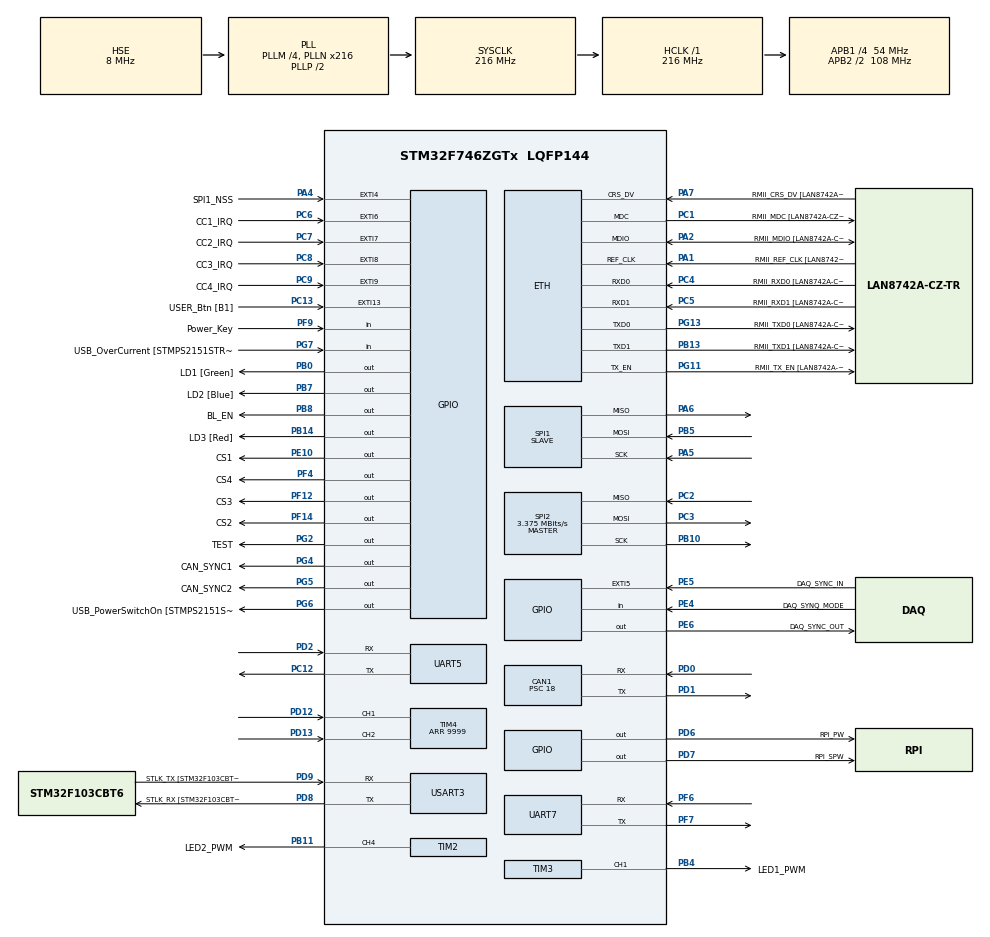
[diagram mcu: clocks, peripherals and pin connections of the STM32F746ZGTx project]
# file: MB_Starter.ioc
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CAN1.BS1=CAN_BS1_3TQ
CAN1.BS2=CAN_BS2_2TQ
CAN1.CalculateTimeQuantum=333.33333333333337
CAN1.Prescaler=18
CAN1.SJW=CAN_SJW_2TQ
Dma.Request0=SPI1_RX
Dma.Request1=SPI1_TX
Dma.Request2=UART5_TX
Dma.Request3=UART7_TX
Dma.Request4=UART7_RX
Dma.SPI1_RX.0.Direction=DMA_PERIPH_TO_MEMORY
Dma.SPI1_RX.0.FIFOMode=DMA_FIFOMODE_DISABLE
Dma.SPI1_RX.0.Instance=DMA2_Stream0
Dma.SPI1_RX.0.MemDataAlignment=DMA_MDATAALIGN_BYTE
Dma.SPI1_RX.0.MemInc=DMA_MINC_ENABLE
Dma.SPI1_RX.0.Mode=DMA_NORMAL
Dma.SPI1_RX.0.PeriphDataAlignment=DMA_PDATAALIGN_BYTE
Dma.SPI1_RX.0.PeriphInc=DMA_PINC_DISABLE
Dma.SPI1_RX.0.Priority=DMA_PRIORITY_HIGH
Dma.SPI1_TX.1.Direction=DMA_MEMORY_TO_PERIPH
Dma.SPI1_TX.1.FIFOMode=DMA_FIFOMODE_DISABLE
Dma.SPI1_TX.1.Instance=DMA2_Stream3
Dma.SPI1_TX.1.MemDataAlignment=DMA_MDATAALIGN_BYTE
Dma.SPI1_TX.1.MemInc=DMA_MINC_ENABLE
Dma.SPI1_TX.1.Mode=DMA_CIRCULAR
Dma.SPI1_TX.1.PeriphDataAlignment=DMA_PDATAALIGN_BYTE
Dma.SPI1_TX.1.PeriphInc=DMA_PINC_DISABLE
Dma.SPI1_TX.1.Priority=DMA_PRIORITY_HIGH
Dma.UART5_TX.2.Direction=DMA_MEMORY_TO_PERIPH
Dma.UART5_TX.2.FIFOMode=DMA_FIFOMODE_DISABLE
Dma.UART5_TX.2.Instance=DMA1_Stream7
Dma.UART5_TX.2.MemDataAlignment=DMA_MDATAALIGN_BYTE
Dma.UART5_TX.2.MemInc=DMA_MINC_ENABLE
Dma.UART5_TX.2.Mode=DMA_NORMAL
Dma.UART5_TX.2.PeriphDataAlignment=DMA_PDATAALIGN_BYTE
Dma.UART5_TX.2.PeriphInc=DMA_PINC_DISABLE
Dma.UART5_TX.2.Priority=DMA_PRIORITY_MEDIUM
Dma.UART7_RX.4.Direction=DMA_PERIPH_TO_MEMORY
Dma.UART7_RX.4.FIFOMode=DMA_FIFOMODE_DISABLE
Dma.UART7_RX.4.Instance=DMA1_Stream3
Dma.UART7_RX.4.MemDataAlignment=DMA_MDATAALIGN_BYTE
Dma.UART7_RX.4.MemInc=DMA_MINC_ENABLE
Dma.UART7_RX.4.Mode=DMA_NORMAL
Dma.UART7_RX.4.PeriphDataAlignment=DMA_PDATAALIGN_BYTE
Dma.UART7_RX.4.PeriphInc=DMA_PINC_DISABLE
Dma.UART7_RX.4.Priority=DMA_PRIORITY_MEDIUM
Dma.UART7_TX.3.Direction=DMA_MEMORY_TO_PERIPH
Dma.UART7_TX.3.FIFOMode=DMA_FIFOMODE_DISABLE
Dma.UART7_TX.3.Instance=DMA1_Stream1
Dma.UART7_TX.3.MemDataAlignment=DMA_MDATAALIGN_BYTE
Dma.UART7_TX.3.MemInc=DMA_MINC_ENABLE
Dma.UART7_TX.3.Mode=DMA_CIRCULAR
Dma.UART7_TX.3.PeriphDataAlignment=DMA_PDATAALIGN_BYTE
Dma.UART7_TX.3.PeriphInc=DMA_PINC_DISABLE
Dma.UART7_TX.3.Priority=DMA_PRIORITY_MEDIUM
ETH.MediaInterface=ETH_MEDIA_INTERFACE_RMII
ETH.PHY_Name=LAN8742A_PHY_ADDRESS
ETH.PHY_Value=0
ETH.PhyAddress=0
LWIP.IP_ADDRESS=192.168.050.100
LWIP.LWIP_DHCP=0
LWIP.MEM_SIZE=2048
LWIP.NETMASK_ADDRESS=255.255.255.000
LWIP.Version=v2.0.3_Cube
Mcu.Family=STM32F7
Mcu.Name=STM32F746ZGTx
Mcu.Package=LQFP144
NVIC.CAN1_RX0_IRQn=true\:0\:0\:false\:false\:true\:true\:true
NVIC.CAN1_RX1_IRQn=true\:0\:0\:false\:false\:true\:true\:true
NVIC.CAN1_TX_IRQn=true\:0\:0\:false\:false\:true\:true\:true
NVIC.DMA1_Stream1_IRQn=true\:0\:0\:false\:false\:true\:false\:true
NVIC.DMA1_Stream3_IRQn=true\:0\:0\:false\:false\:true\:false\:true
NVIC.DMA1_Stream7_IRQn=true\:0\:0\:false\:false\:true\:false\:true
NVIC.DMA2_Stream0_IRQn=true\:0\:0\:false\:false\:true\:false\:true
NVIC.DMA2_Stream3_IRQn=true\:0\:0\:false\:false\:true\:false\:true
NVIC.EXTI15_10_IRQn=true\:0\:0\:false\:false\:true\:true\:true
NVIC.EXTI4_IRQn=true\:0\:0\:false\:false\:true\:true\:true
NVIC.EXTI9_5_IRQn=true\:0\:0\:false\:false\:true\:true\:true
NVIC.PriorityGroup=NVIC_PRIORITYGROUP_4
NVIC.TIM4_IRQn=true\:0\:0\:false\:false\:true\:true\:true
NVIC.TIM8_TRG_COM_TIM14_IRQn=true\:0\:0\:false\:false\:true\:true\:true
NVIC.TIM8_UP_TIM13_IRQn=true\:0\:0\:false\:false\:true\:true\:true
NVIC.UART7_IRQn=true\:0\:0\:false\:false\:true\:true\:true
PA1.GPIO_Label=RMII_REF_CLK [LAN8742A-CZ-TR_REFCLK0]
PA1.Mode=RMII
PA1.Signal=ETH_REF_CLK
PA10.GPIO_Label=USB_ID
PA10.Signal=USB_OTG_FS_ID
PA11.GPIO_Label=USB_DM
PA11.Signal=USB_OTG_FS_DM
PA12.GPIO_Label=USB_DP
PA12.Signal=USB_OTG_FS_DP
PA13.GPIO_Label=TMS
PA13.Mode=Serial_Wire
PA13.Signal=SYS_JTMS-SWDIO
PA14.GPIO_Label=TCK
PA14.Mode=Serial_Wire
PA14.Signal=SYS_JTCK-SWCLK
PA2.GPIO_Label=RMII_MDIO [LAN8742A-CZ-TR_MDIO]
PA2.Mode=RMII
PA2.Signal=ETH_MDIO
PA4.GPIO_Label=SPI1_NSS
PA4.GPIO_ModeDefaultEXTI=GPIO_MODE_IT_RISING_FALLING
PA4.Signal=GPXTI4
PA5.Mode=Full_Duplex_Slave
PA5.Signal=SPI1_SCK
PA6.Mode=Full_Duplex_Slave
PA6.Signal=SPI1_MISO
PA7.GPIO_Label=RMII_CRS_DV [LAN8742A-CZ-TR_CRS_DV]
PA7.Mode=RMII
PA7.Signal=ETH_CRS_DV
PA8.GPIO_Label=USB_SOF [TP1]
PA8.Signal=USB_OTG_FS_SOF
PA9.GPIO_Label=USB_VBUS
PA9.Signal=USB_OTG_FS_VBUS
PB0.GPIO_Label=LD1 [Green]
PB0.Signal=GPIO_Output
PB10.Mode=Full_Duplex_Master
PB10.Signal=SPI2_SCK
PB11.GPIO_Label=LED2_PWM
PB11.Signal=S_TIM2_CH4
PB13.GPIO_Label=RMII_TXD1 [LAN8742A-CZ-TR_TXD1]
PB13.Mode=RMII
PB13.Signal=ETH_TXD1
PB14.GPIO_Label=LD3 [Red]
PB14.Signal=GPIO_Output
PB3.GPIO_Label=SW0
PB3.Signal=SYS_JTDO-SWO
PB4.GPIO_Label=LED1_PWM
PB4.Signal=S_TIM3_CH1
PB5.Mode=Full_Duplex_Slave
PB5.Signal=SPI1_MOSI
PB7.GPIO_Label=LD2 [Blue]
PB7.Signal=GPIO_Output
PB8.GPIO_Label=BL_EN
PB8.Signal=GPIO_Output
PC1.GPIO_Label=RMII_MDC [LAN8742A-CZ-TR_MDC]
PC1.Mode=RMII
PC1.Signal=ETH_MDC
PC12.Mode=Asynchronous
PC12.Signal=UART5_TX
PC13.GPIO_Label=USER_Btn [B1]
PC13.Signal=GPXTI13
PC14/OSC32_IN.Mode=LSE-External-Oscillator
PC14/OSC32_IN.Signal=RCC_OSC32_IN
PC15/OSC32_OUT.Mode=LSE-External-Oscillator
PC15/OSC32_OUT.Signal=RCC_OSC32_OUT
PC2.Mode=Full_Duplex_Master
PC2.Signal=SPI2_MISO
PC3.Mode=Full_Duplex_Master
PC3.Signal=SPI2_MOSI
PC4.GPIO_Label=RMII_RXD0 [LAN8742A-CZ-TR_RXD0]
PC4.Mode=RMII
PC4.Signal=ETH_RXD0
PC5.GPIO_Label=RMII_RXD1 [LAN8742A-CZ-TR_RXD1]
PC5.Mode=RMII
PC5.Signal=ETH_RXD1
PC6.GPIO_Label=CC1_IRQ
PC6.GPIO_PuPd=GPIO_PULLDOWN
PC6.Signal=GPXTI6
PC7.GPIO_Label=CC2_IRQ
PC7.GPIO_PuPd=GPIO_PULLDOWN
PC7.Signal=GPXTI7
PC8.GPIO_Label=CC3_IRQ
PC8.GPIO_PuPd=GPIO_PULLDOWN
PC8.Signal=GPXTI8
PC9.GPIO_Label=CC4_IRQ
PC9.GPIO_PuPd=GPIO_PULLDOWN
PC9.Signal=GPXTI9
PD0.Mode=Master
PD0.Signal=CAN1_RX
PD1.Mode=Master
PD1.Signal=CAN1_TX
PD12.Signal=S_TIM4_CH1
PD13.Signal=S_TIM4_CH2
PD2.Mode=Asynchronous
PD2.Signal=UART5_RX
PD6.GPIO_Label=RPi_PW
PD6.Signal=GPIO_Output
PD7.GPIO_Label=RPI_SPW
PD7.Signal=GPIO_Output
PD8.GPIO_Label=STLK_RX [STM32F103CBT6_PA3]
PD8.Mode=Asynchronous
PD8.Signal=USART3_TX
PD9.GPIO_Label=STLK_TX [STM32F103CBT6_PA2]
PD9.Mode=Asynchronous
PD9.Signal=USART3_RX
PE10.GPIO_Label=CS1
PE10.Signal=GPIO_Output
PE4.GPIO_Label=DAQ_SYNQ_MODE
PE4.GPIO_PuPd=GPIO_PULLUP
PE4.Signal=GPIO_Input
PE5.GPIO_Label=DAQ_SYNC_IN
PE5.GPIO_ModeDefaultEXTI=GPIO_MODE_IT_RISING
PE5.GPIO_PuPd=GPIO_PULLUP
PE5.Signal=GPXTI5
PE6.GPIO_Label=DAQ_SYNC_OUT
PE6.Signal=GPIO_Output
PF12.GPIO_Label=CS3
PF12.Signal=GPIO_Output
PF14.GPIO_Label=CS2
PF14.Signal=GPIO_Output
PF4.GPIO_Label=CS4
PF4.Signal=GPIO_Output
PF6.Mode=Asynchronous
PF6.Signal=UART7_RX
PF7.Mode=Asynchronous
PF7.Signal=UART7_TX
PF9.GPIO_Label=Power_Key
PF9.GPIO_PuPd=GPIO_PULLDOWN
PF9.Signal=GPIO_Input
PG11.GPIO_Label=RMII_TX_EN [LAN8742A-CZ-TR_TXEN]
PG11.Mode=RMII
PG11.Signal=ETH_TX_EN
PG13.GPIO_Label=RMII_TXD0 [LAN8742A-CZ-TR_TXD0]
PG13.Mode=RMII
PG13.Signal=ETH_TXD0
PG2.GPIO_Label=TEST
PG2.Signal=GPIO_Output
PG4.GPIO_Label=CAN_SYNC1
PG4.Signal=GPIO_Output
PG5.GPIO_Label=CAN_SYNC2
PG5.Signal=GPIO_Output
PG6.GPIO_Label=USB_PowerSwitchOn [STMPS2151STR_EN]
PG6.Signal=GPIO_Output
PG7.GPIO_Label=USB_OverCurrent [STMPS2151STR_FAULT]
PG7.Signal=GPIO_Input
PH0/OSC_IN.GPIO_Label=MCO [STM32F103CBT6_PA8]
PH0/OSC_IN.Mode=HSE-External-Clock-Source
PH0/OSC_IN.Signal=RCC_OSC_IN
PH1/OSC_OUT.Mode=HSE-External-Clock-Source
PH1/OSC_OUT.Signal=RCC_OSC_OUT
ProjectManager.HeapSize=0x400
ProjectManager.StackSize=0x800
ProjectManager.TargetToolchain=MDK-ARM V5
RCC.48MHZClocksFreq_Value=24000000
RCC.AHBFreq_Value=216000000
RCC.APB1CLKDivider=RCC_HCLK_DIV4
RCC.APB1Freq_Value=54000000
RCC.APB1TimFreq_Value=108000000
RCC.APB2CLKDivider=RCC_HCLK_DIV2
RCC.APB2Freq_Value=108000000
RCC.APB2TimFreq_Value=216000000
RCC.CortexFreq_Value=216000000
RCC.HCLKFreq_Value=216000000
RCC.HSE_VALUE=8000000
RCC.HSI_VALUE=16000000
RCC.PLLM=4
RCC.PLLMUL=RCC_PLL_MUL9
RCC.PLLN=216
RCC.PLLQ=9
RCC.PLLSourceVirtual=RCC_PLLSOURCE_HSE
RCC.PRESCALERUSB=RCC_USBCLKSOURCE_PLL_DIV1_5
RCC.SYSCLKFreq_VALUE=216000000
RCC.SYSCLKSource=RCC_SYSCLKSOURCE_PLLCLK
RCC.SYSCLKSourceVirtual=RCC_SYSCLKSOURCE_PLLCLK
RCC.USBFreq_Value=48000000
RCC.VCOOutputFreq_Value=432000000
SH.S_TIM2_CH4.0=TIM2_CH4,PWM Generation4 CH4
SH.S_TIM3_CH1.0=TIM3_CH1,PWM Generation1 CH1
SH.S_TIM4_CH1.0=TIM4_CH1,Encoder_Interface
SH.S_TIM4_CH2.0=TIM4_CH2,Encoder_Interface
SPI1.DataSize=SPI_DATASIZE_8BIT
SPI1.Direction=SPI_DIRECTION_2LINES
SPI1.Mode=SPI_MODE_SLAVE
SPI1.VirtualType=VM_SLAVE
SPI2.BaudRatePrescaler=SPI_BAUDRATEPRESCALER_16
SPI2.CRCCalculation=SPI_CRCCALCULATION_DISABLE
SPI2.CalculateBaudRate=3.375 MBits/s
SPI2.DataSize=SPI_DATASIZE_8BIT
SPI2.Direction=SPI_DIRECTION_2LINES
SPI2.Mode=SPI_MODE_MASTER
SPI2.VirtualType=VM_MASTER
TIM13.Period=65535
TIM13.Prescaler=107
TIM14.Period=107
TIM14.Prescaler=999
TIM2.Channel-PWM\ Generation4\ CH4=TIM_CHANNEL_4
TIM2.Period=7200
TIM2.Prescaler=9
TIM3.Channel-PWM\ Generation1\ CH1=TIM_CHANNEL_1
TIM3.Period=7200
TIM3.Prescaler=9
TIM4.EncoderMode=TIM_ENCODERMODE_TI12
TIM4.Period=9999
USART3.VirtualMode-Asynchronous=VM_ASYNC
VP_LWIP_VS_Enabled.Mode=Enabled
VP_TIM13_VS_ClockSourceINT.Mode=Enable_Timer
VP_TIM14_VS_ClockSourceINT.Mode=Enable_Timer
board=NUCLEO-F746ZG

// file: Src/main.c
/* USER CODE BEGIN Header */
/**
  ******************************************************************************
  * @file           : main.c
  * @brief          : Main program body
  ******************************************************************************
  ** This notice applies to any and all portions of this file
  * that are not between comment pairs USER CODE BEGIN and
  * USER CODE END. Other portions of this file, whether
  * inserted by the user or by software development tools
  * are owned by their respective copyright owners.
  *
  * COPYRIGHT(c) 2019 STMicroelectronics
  *
  * Redistribution and use in source and binary forms, with or without modification,
  * are permitted provided that the following conditions are met:
  *   1. Redistributions of source code must retain the above copyright notice,
  *      this list of conditions and the following disclaimer.
  *   2. Redistributions in binary form must reproduce the above copyright notice,
  *      this list of conditions and the following disclaimer in the documentation
  *      and/or other materials provided with the distribution.
  *   3. Neither the name of STMicroelectronics nor the names of its contributors
  *      may be used to endorse or promote products derived from this software
  *      without specific prior written permission.
  *
  * THIS SOFTWARE IS PROVIDED BY THE COPYRIGHT HOLDERS AND CONTRIBUTORS "AS IS"
  * AND ANY EXPRESS OR IMPLIED WARRANTIES, INCLUDING, BUT NOT LIMITED TO, THE
  * IMPLIED WARRANTIES OF MERCHANTABILITY AND FITNESS FOR A PARTICULAR PURPOSE ARE
  * DISCLAIMED. IN NO EVENT SHALL THE COPYRIGHT HOLDER OR CONTRIBUTORS BE LIABLE
  * FOR ANY DIRECT, INDIRECT, INCIDENTAL, SPECIAL, EXEMPLARY, OR CONSEQUENTIAL
  * DAMAGES (INCLUDING, BUT NOT LIMITED TO, PROCUREMENT OF SUBSTITUTE GOODS OR
  * SERVICES; LOSS OF USE, DATA, OR PROFITS; OR BUSINESS INTERRUPTION) HOWEVER
  * CAUSED AND ON ANY THEORY OF LIABILITY, WHETHER IN CONTRACT, STRICT LIABILITY,
  * OR TORT (INCLUDING NEGLIGENCE OR OTHERWISE) ARISING IN ANY WAY OUT OF THE USE
  * OF THIS SOFTWARE, EVEN IF ADVISED OF THE POSSIBILITY OF SUCH DAMAGE.
  *
  ******************************************************************************
  */
/* USER CODE END Header */

#include "main.h"
#include "lwip.h"

/* USER CODE BEGIN Includes */
#include "string.h"
#include "udp.h"
#include "spi_stack.h"
#include "power_manager.h"
#include "CAN_CARD.h"
#include "stdio.h"
#include "time_keeper.h"
#include "CAN_Telemetry.h"
/* USER CODE END Includes */

/* USER CODE BEGIN PD */
#define SYNQ_MODE_SLAVE 0
/* USER CODE END PD */

CAN_HandleTypeDef hcan1;

SPI_HandleTypeDef hspi1;
SPI_HandleTypeDef hspi2;
DMA_HandleTypeDef hdma_spi1_rx;
DMA_HandleTypeDef hdma_spi1_tx;

TIM_HandleTypeDef htim2;
TIM_HandleTypeDef htim3;
TIM_HandleTypeDef htim4;
TIM_HandleTypeDef htim13;
TIM_HandleTypeDef htim14;

UART_HandleTypeDef huart5;
UART_HandleTypeDef huart7;
UART_HandleTypeDef huart3;
DMA_HandleTypeDef hdma_uart5_tx;
DMA_HandleTypeDef hdma_uart7_tx;
DMA_HandleTypeDef hdma_uart7_rx;

/* USER CODE BEGIN PV */
char string[64];
struct udp_pcb *UDP;
ip_addr_t Remote_IP, Local_IP;
extern volatile int RPI_SYNC;
extern volatile int UDP_TFLAG;
extern volatile int IMU_RX_FLAG;
int syncTogglingFlag=0;
int SYNC_IN_FLAG =0,Start_Sampling=0;
struct pbuf *Transmit_Pbuf;
CAN_RxHeaderTypeDef RMess;
CAN_TxHeaderTypeDef TMess;
uint8_t  TxData[8] = {0};
uint8_t  canRxData[8];
uint32_t TxMailBox;

HAL_StatusTypeDef canret;

char str[32];
uint8_t data_in_test[32];
uint8_t data_out_test[32];

volatile int SENSOtgRX_COUNTER=0;
extern volatile int nob_encoder_index;
CAN_TxHeaderTypeDef TMess;

union UDP_packet{
	struct
	{
		int32_t accel[3];
		int32_t gyro[3];
		int32_t magn[3];
		int32_t nob_encoder;
		int32_t mot_encoders[4];
		int32_t force[4];
		uint32_t IMU_TimeStamp;
		uint32_t RPU_TimeStamp;
		uint32_t CAM_TimeStamp;
	}Data;
	uint8_t buff[84];
}outPacket;

union {
	struct
	{
		uint8_t header1;
		uint8_t header2;
		int32_t accel[3];
		int32_t gyro[3];
		int32_t magn[3];
		int32_t nob_encoder;
		int32_t mot_encoders[4];
		int32_t force[4];
		uint32_t IMU_TimeStamp;
		uint32_t RPU_TimeStamp;
		uint32_t CAM_TimeStamp;
	}Data;
	uint8_t buff[86];
}guiPacket;
/* USER CODE END PV */

void SystemClock_Config(void);
static void MX_GPIO_Init(void);
static void MX_DMA_Init(void);
static void MX_USART3_UART_Init(void);
static void MX_SPI2_Init(void);
static void MX_UART5_Init(void);
static void MX_CAN1_Init(void);
static void MX_SPI1_Init(void);
static void MX_GFXSIMULATOR_Init(void);
static void MX_TIM4_Init(void);
static void MX_TIM2_Init(void);
static void MX_TIM3_Init(void);
static void MX_TIM14_Init(void);
static void MX_TIM13_Init(void);
static void MX_UART7_Init(void);
/* USER CODE BEGIN PFP */
int32_t nob_encoder_read(void);
void nob_encoder_reset(void);

/////////////////RPI CODE STARTS HERE

void RPI_DATA_LOAD(void){

	//memcpy((uint8_t*)&regs[1],RPI_DATA.buff,8);
}

void setStatusReg(int status)
{
	//regs[STATUS_ADDRESS]=status;
}
// DAQ UDP Data Transaction
void makeUdpPacket(void)
{
	uint8_t rpusStatus;
	//Put the RPU Packets in the outpacket buffers
	outPacket.Data.accel[0]=accel[0];
	outPacket.Data.accel[1]=accel[1];
	outPacket.Data.accel[2]=accel[2];

	outPacket.Data.gyro[0]=gyro[0];
	outPacket.Data.gyro[1]=gyro[1];
	outPacket.Data.gyro[2]=gyro[2];

	outPacket.Data.magn[0]=magnetometer[0];
	outPacket.Data.magn[1]=magnetometer[1];
	outPacket.Data.magn[2]=magnetometer[2];

	//get the sensor values from the RPUs
	rpusStatus=getConversionStatus();
	//if the status is not success, set the corresponding measurements to a specefic number
	if(rpusStatus&(1<<0))
		rpuGetSensorData(&outPacket.Data.mot_encoders[0],&outPacket.Data.force[0],0);
	else
	{
		outPacket.Data.force[0]=-5000;
		outPacket.Data.mot_encoders[0]=-5000;
	}

	if(rpusStatus&(1<<1))
		rpuGetSensorData(&outPacket.Data.mot_encoders[1],&outPacket.Data.force[1],1);
	else
	{
		outPacket.Data.force[1]=-5000;
		outPacket.Data.mot_encoders[1]=-5000;
	}	if(rpusStatus&(1<<2))
		rpuGetSensorData(&outPacket.Data.mot_encoders[2],&outPacket.Data.force[2],2);
	else
	{
		outPacket.Data.force[2]=-5000;
		outPacket.Data.mot_encoders[2]=-5000;
	}	if(rpusStatus&(1<<3))
		rpuGetSensorData(&outPacket.Data.mot_encoders[3],&outPacket.Data.force[3],3);
	else
	{
		outPacket.Data.force[3]=-5000;
		outPacket.Data.mot_encoders[3]=-5000;
	}

	//read the nobe encoder and store its data into the output packet
	outPacket.Data.nob_encoder=nob_encoder_read();
	//Get the time Stamps
	outPacket.Data.RPU_TimeStamp=0;//RPU_TimeStamp();
	outPacket.Data.IMU_TimeStamp=0;
	outPacket.Data.CAM_TimeStamp=syncTogglingFlag;
}

void sendUdpPacket(void)
{
	Transmit_Pbuf=pbuf_alloc(PBUF_TRANSPORT, sizeof(outPacket.buff), PBUF_RAM);
	pbuf_take(Transmit_Pbuf, outPacket.buff, sizeof(outPacket.buff));
	udp_sendto(UDP, Transmit_Pbuf, &Remote_IP, 5500);
	pbuf_free(Transmit_Pbuf);
}

void sendUartTelemtry(void)
{
	HAL_UART_DMAStop(&huart5);
	HAL_UART_Transmit_DMA(&huart5,outPacket.buff,sizeof(outPacket.buff));
}
void readSensors()
{
	//RPUs start conversion
	//sensorStartConversion();
	//RPU_Tick();
}
void sendGuiData(void)
{
	static int counter=0;
	if(counter <30)
		counter++;
	else{
		guiPacket.Data.header1='a';
		guiPacket.Data.header2='b';
		memcpy(&guiPacket.buff[2],outPacket.buff,sizeof(outPacket.buff));
		guiPacket.Data.force[0]=nob_encoder_read();
		HAL_UART_Transmit_DMA(&huart7,guiPacket.buff,sizeof(guiPacket.buff));
	}
}

/* USER CODE END PFP */

int main(void)
{
  /* USER CODE BEGIN 1 */
	int loop_delay_counter=0;
	int uart_telemtry_loop_delay=30;
  /* USER CODE END 1 */

  /* MCU Configuration--------------------------------------------------------*/

  /* Reset of all peripherals, Initializes the Flash interface and the Systick. */
  HAL_Init();

  /* Configure the system clock */
  SystemClock_Config();

  /* Initialize all configured peripherals */
  MX_GPIO_Init();
  MX_DMA_Init();
  MX_USART3_UART_Init();
  MX_SPI2_Init();
  MX_UART5_Init();
  MX_LWIP_Init();
  MX_CAN1_Init();
  MX_SPI1_Init();
  MX_GFXSIMULATOR_Init();
  MX_TIM4_Init();
  MX_TIM2_Init();
  MX_TIM3_Init();
  MX_TIM14_Init();
  MX_TIM13_Init();
  MX_UART7_Init();
  /* USER CODE BEGIN 2 */
	HAL_TIM_Base_Start_IT(&htim14);// Timer for CAN CARD Heart beats
	HAL_TIM_Base_Start_IT(&htim4);
	powerManager_init();
	can_stack_init(&hcan1);
	timeManagerInit(&htim13);
	nob_encoder_index=0;	//Reset the encoder index in case an unwanted interrupt occures.
	IP_ADDR4(&Local_IP, 192, 168, 50, 100);
	IP_ADDR4(&Remote_IP, 192, 168, 50, 50);
	UDP=udp_new();
	udp_bind(UDP, IP_ADDR_ANY, 5500);
  //spi_stack_init(&hspi1);//The SPI Slave subsystem for telemetry to the GUI System is faulty and needs further work
	CAN_CARDS_INIT();
	nob_encoder_reset();

	float q[4];
	float pos[3];
  /* USER CODE END 2 */

  /* Infinite loop */
  /* USER CODE BEGIN WHILE */
	Start_Sampling=1;
  while (1)
	{
			// Transmit the data to the GUI computer
			if(UDP_TFLAG==1)
			{
				UDP_TFLAG=0;
				if(uart_telemtry_loop_delay>10)
				{
					uart_telemtry_loop_delay=0;
					sendUartTelemtry(); //Data For the GUI
				}
				else
				{
					uart_telemtry_loop_delay++;
				}
			}
			if (IMU_RX_FLAG==1) //on the reception of an IMU packet, we must send the results through UDP
			{
				IMU_RX_FLAG=0;
				if(loop_delay_counter>=0)
				{
					loop_delay_counter=0;
					HAL_GPIO_WritePin(DAQ_SYNC_OUT_GPIO_Port,DAQ_SYNC_OUT_Pin,
														!HAL_GPIO_ReadPin(DAQ_SYNC_OUT_GPIO_Port,DAQ_SYNC_OUT_Pin)); //Toggle the Sync output
					//readKeys(keys);
					//pos[0]=(float)keys[0];
					//pos[1]=(float)1.5;
					//pos[2]=(float)2.5;
					//IMP_Write(pos,q);
					//IMU_Write(val,val,val);
					//RPUs_Write(encoders,forces);
					//SlidersRead(keys);
				  //spi_out_shadow_update();
					//ledStateMachine();
					//poweSwitchStateMachine();
					//dacSend(vals);
					makeUdpPacket();
					sendUdpPacket();
					sendGuiData();
				}
				else
				{
					loop_delay_counter++;
				}
			}
			MX_LWIP_Process();
    /* USER CODE END WHILE */

  }
}

void SystemClock_Config(void)
{
  RCC_OscInitTypeDef RCC_OscInitStruct = {0};
  RCC_ClkInitTypeDef RCC_ClkInitStruct = {0};
  RCC_PeriphCLKInitTypeDef PeriphClkInitStruct = {0};

  /** Configure LSE Drive Capability
  */
  HAL_PWR_EnableBkUpAccess();
  /** Configure the main internal regulator output voltage
  */
  __HAL_RCC_PWR_CLK_ENABLE();
  __HAL_PWR_VOLTAGESCALING_CONFIG(PWR_REGULATOR_VOLTAGE_SCALE1);
  /** Initializes the CPU, AHB and APB busses clocks
  */
  RCC_OscInitStruct.OscillatorType = RCC_OSCILLATORTYPE_HSE;
  RCC_OscInitStruct.HSEState = RCC_HSE_BYPASS;
  RCC_OscInitStruct.PLL.PLLState = RCC_PLL_ON;
  RCC_OscInitStruct.PLL.PLLSource = RCC_PLLSOURCE_HSE;
  RCC_OscInitStruct.PLL.PLLM = 4;
  RCC_OscInitStruct.PLL.PLLN = 216;
  RCC_OscInitStruct.PLL.PLLP = RCC_PLLP_DIV2;
  RCC_OscInitStruct.PLL.PLLQ = 9;
  if (HAL_RCC_OscConfig(&RCC_OscInitStruct) != HAL_OK)
  {
    Error_Handler();
  }
  /** Activate the Over-Drive mode
  */
  if (HAL_PWREx_EnableOverDrive() != HAL_OK)
  {
    Error_Handler();
  }
  /** Initializes the CPU, AHB and APB busses clocks
  */
  RCC_ClkInitStruct.ClockType = RCC_CLOCKTYPE_HCLK|RCC_CLOCKTYPE_SYSCLK
                              |RCC_CLOCKTYPE_PCLK1|RCC_CLOCKTYPE_PCLK2;
  RCC_ClkInitStruct.SYSCLKSource = RCC_SYSCLKSOURCE_PLLCLK;
  RCC_ClkInitStruct.AHBCLKDivider = RCC_SYSCLK_DIV1;
  RCC_ClkInitStruct.APB1CLKDivider = RCC_HCLK_DIV4;
  RCC_ClkInitStruct.APB2CLKDivider = RCC_HCLK_DIV2;

  if (HAL_RCC_ClockConfig(&RCC_ClkInitStruct, FLASH_LATENCY_7) != HAL_OK)
  {
    Error_Handler();
  }
  PeriphClkInitStruct.PeriphClockSelection = RCC_PERIPHCLK_USART3|RCC_PERIPHCLK_UART5
                              |RCC_PERIPHCLK_UART7;
  PeriphClkInitStruct.Usart3ClockSelection = RCC_USART3CLKSOURCE_PCLK1;
  PeriphClkInitStruct.Uart5ClockSelection = RCC_UART5CLKSOURCE_PCLK1;
  PeriphClkInitStruct.Uart7ClockSelection = RCC_UART7CLKSOURCE_PCLK1;
  if (HAL_RCCEx_PeriphCLKConfig(&PeriphClkInitStruct) != HAL_OK)
  {
    Error_Handler();
  }
}

static void MX_CAN1_Init(void)
{

  hcan1.Instance = CAN1;
  hcan1.Init.Prescaler = 18;
  hcan1.Init.Mode = CAN_MODE_NORMAL;
  hcan1.Init.SyncJumpWidth = CAN_SJW_2TQ;
  hcan1.Init.TimeSeg1 = CAN_BS1_3TQ;
  hcan1.Init.TimeSeg2 = CAN_BS2_2TQ;
  hcan1.Init.TimeTriggeredMode = DISABLE;
  hcan1.Init.AutoBusOff = DISABLE;
  hcan1.Init.AutoWakeUp = DISABLE;
  hcan1.Init.AutoRetransmission = DISABLE;
  hcan1.Init.ReceiveFifoLocked = DISABLE;
  hcan1.Init.TransmitFifoPriority = DISABLE;
  if (HAL_CAN_Init(&hcan1) != HAL_OK)
  {
    Error_Handler();
  }

}

static void MX_GFXSIMULATOR_Init(void)
{

}

static void MX_SPI1_Init(void)
{

  /* SPI1 parameter configuration*/
  hspi1.Instance = SPI1;
  hspi1.Init.Mode = SPI_MODE_SLAVE;
  hspi1.Init.Direction = SPI_DIRECTION_2LINES;
  hspi1.Init.DataSize = SPI_DATASIZE_8BIT;
  hspi1.Init.CLKPolarity = SPI_POLARITY_LOW;
  hspi1.Init.CLKPhase = SPI_PHASE_1EDGE;
  hspi1.Init.NSS = SPI_NSS_SOFT;
  hspi1.Init.FirstBit = SPI_FIRSTBIT_MSB;
  hspi1.Init.TIMode = SPI_TIMODE_DISABLE;
  hspi1.Init.CRCCalculation = SPI_CRCCALCULATION_DISABLE;
  hspi1.Init.CRCPolynomial = 7;
  hspi1.Init.CRCLength = SPI_CRC_LENGTH_DATASIZE;
  hspi1.Init.NSSPMode = SPI_NSS_PULSE_DISABLE;
  if (HAL_SPI_Init(&hspi1) != HAL_OK)
  {
    Error_Handler();
  }

}

static void MX_SPI2_Init(void)
{

  /* SPI2 parameter configuration*/
  hspi2.Instance = SPI2;
  hspi2.Init.Mode = SPI_MODE_MASTER;
  hspi2.Init.Direction = SPI_DIRECTION_2LINES;
  hspi2.Init.DataSize = SPI_DATASIZE_8BIT;
  hspi2.Init.CLKPolarity = SPI_POLARITY_LOW;
  hspi2.Init.CLKPhase = SPI_PHASE_1EDGE;
  hspi2.Init.NSS = SPI_NSS_SOFT;
  hspi2.Init.BaudRatePrescaler = SPI_BAUDRATEPRESCALER_16;
  hspi2.Init.FirstBit = SPI_FIRSTBIT_MSB;
  hspi2.Init.TIMode = SPI_TIMODE_DISABLE;
  hspi2.Init.CRCCalculation = SPI_CRCCALCULATION_DISABLE;
  hspi2.Init.CRCPolynomial = 7;
  hspi2.Init.CRCLength = SPI_CRC_LENGTH_DATASIZE;
  hspi2.Init.NSSPMode = SPI_NSS_PULSE_ENABLE;
  if (HAL_SPI_Init(&hspi2) != HAL_OK)
  {
    Error_Handler();
  }

}

static void MX_TIM2_Init(void)
{

  TIM_MasterConfigTypeDef sMasterConfig = {0};
  TIM_OC_InitTypeDef sConfigOC = {0};

  htim2.Instance = TIM2;
  htim2.Init.Prescaler = 9;
  htim2.Init.CounterMode = TIM_COUNTERMODE_UP;
  htim2.Init.Period = 7200;
  htim2.Init.ClockDivision = TIM_CLOCKDIVISION_DIV1;
  htim2.Init.AutoReloadPreload = TIM_AUTORELOAD_PRELOAD_DISABLE;
  if (HAL_TIM_PWM_Init(&htim2) != HAL_OK)
  {
    Error_Handler();
  }
  sMasterConfig.MasterOutputTrigger = TIM_TRGO_RESET;
  sMasterConfig.MasterSlaveMode = TIM_MASTERSLAVEMODE_DISABLE;
  if (HAL_TIMEx_MasterConfigSynchronization(&htim2, &sMasterConfig) != HAL_OK)
  {
    Error_Handler();
  }
  sConfigOC.OCMode = TIM_OCMODE_PWM1;
  sConfigOC.Pulse = 0;
  sConfigOC.OCPolarity = TIM_OCPOLARITY_HIGH;
  sConfigOC.OCFastMode = TIM_OCFAST_DISABLE;
  if (HAL_TIM_PWM_ConfigChannel(&htim2, &sConfigOC, TIM_CHANNEL_4) != HAL_OK)
  {
    Error_Handler();
  }
  HAL_TIM_MspPostInit(&htim2);

}

static void MX_TIM3_Init(void)
{

  TIM_MasterConfigTypeDef sMasterConfig = {0};
  TIM_OC_InitTypeDef sConfigOC = {0};

  htim3.Instance = TIM3;
  htim3.Init.Prescaler = 9;
  htim3.Init.CounterMode = TIM_COUNTERMODE_UP;
  htim3.Init.Period = 7200;
  htim3.Init.ClockDivision = TIM_CLOCKDIVISION_DIV1;
  htim3.Init.AutoReloadPreload = TIM_AUTORELOAD_PRELOAD_DISABLE;
  if (HAL_TIM_PWM_Init(&htim3) != HAL_OK)
  {
    Error_Handler();
  }
  sMasterConfig.MasterOutputTrigger = TIM_TRGO_RESET;
  sMasterConfig.MasterSlaveMode = TIM_MASTERSLAVEMODE_DISABLE;
  if (HAL_TIMEx_MasterConfigSynchronization(&htim3, &sMasterConfig) != HAL_OK)
  {
    Error_Handler();
  }
  sConfigOC.OCMode = TIM_OCMODE_PWM1;
  sConfigOC.Pulse = 0;
  sConfigOC.OCPolarity = TIM_OCPOLARITY_HIGH;
  sConfigOC.OCFastMode = TIM_OCFAST_DISABLE;
  if (HAL_TIM_PWM_ConfigChannel(&htim3, &sConfigOC, TIM_CHANNEL_1) != HAL_OK)
  {
    Error_Handler();
  }
  HAL_TIM_MspPostInit(&htim3);

}

static void MX_TIM4_Init(void)
{

  TIM_Encoder_InitTypeDef sConfig = {0};
  TIM_MasterConfigTypeDef sMasterConfig = {0};

  htim4.Instance = TIM4;
  htim4.Init.Prescaler = 0;
  htim4.Init.CounterMode = TIM_COUNTERMODE_UP;
  htim4.Init.Period = 9999;
  htim4.Init.ClockDivision = TIM_CLOCKDIVISION_DIV1;
  htim4.Init.AutoReloadPreload = TIM_AUTORELOAD_PRELOAD_DISABLE;
  sConfig.EncoderMode = TIM_ENCODERMODE_TI12;
  sConfig.IC1Polarity = TIM_ICPOLARITY_RISING;
  sConfig.IC1Selection = TIM_ICSELECTION_DIRECTTI;
  sConfig.IC1Prescaler = TIM_ICPSC_DIV1;
  sConfig.IC1Filter = 0;
  sConfig.IC2Polarity = TIM_ICPOLARITY_RISING;
  sConfig.IC2Selection = TIM_ICSELECTION_DIRECTTI;
  sConfig.IC2Prescaler = TIM_ICPSC_DIV1;
  sConfig.IC2Filter = 0;
  if (HAL_TIM_Encoder_Init(&htim4, &sConfig) != HAL_OK)
  {
    Error_Handler();
  }
  sMasterConfig.MasterOutputTrigger = TIM_TRGO_RESET;
  sMasterConfig.MasterSlaveMode = TIM_MASTERSLAVEMODE_DISABLE;
  if (HAL_TIMEx_MasterConfigSynchronization(&htim4, &sMasterConfig) != HAL_OK)
  {
    Error_Handler();
  }

}

static void MX_TIM13_Init(void)
{

  htim13.Instance = TIM13;
  htim13.Init.Prescaler = 107;
  htim13.Init.CounterMode = TIM_COUNTERMODE_UP;
  htim13.Init.Period = 65535;
  htim13.Init.ClockDivision = TIM_CLOCKDIVISION_DIV1;
  htim13.Init.AutoReloadPreload = TIM_AUTORELOAD_PRELOAD_DISABLE;
  if (HAL_TIM_Base_Init(&htim13) != HAL_OK)
  {
    Error_Handler();
  }

}

static void MX_TIM14_Init(void)
{

  htim14.Instance = TIM14;
  htim14.Init.Prescaler = 999;
  htim14.Init.CounterMode = TIM_COUNTERMODE_UP;
  htim14.Init.Period = 107;
  htim14.Init.ClockDivision = TIM_CLOCKDIVISION_DIV1;
  htim14.Init.AutoReloadPreload = TIM_AUTORELOAD_PRELOAD_DISABLE;
  if (HAL_TIM_Base_Init(&htim14) != HAL_OK)
  {
    Error_Handler();
  }

}

static void MX_UART5_Init(void)
{

  huart5.Instance = UART5;
  huart5.Init.BaudRate = 115200;
  huart5.Init.WordLength = UART_WORDLENGTH_8B;
  huart5.Init.StopBits = UART_STOPBITS_1;
  huart5.Init.Parity = UART_PARITY_NONE;
  huart5.Init.Mode = UART_MODE_TX_RX;
  huart5.Init.HwFlowCtl = UART_HWCONTROL_NONE;
  huart5.Init.OverSampling = UART_OVERSAMPLING_16;
  huart5.Init.OneBitSampling = UART_ONE_BIT_SAMPLE_DISABLE;
  huart5.AdvancedInit.AdvFeatureInit = UART_ADVFEATURE_NO_INIT;
  if (HAL_UART_Init(&huart5) != HAL_OK)
  {
    Error_Handler();
  }

}

static void MX_UART7_Init(void)
{

  huart7.Instance = UART7;
  huart7.Init.BaudRate = 115200;
  huart7.Init.WordLength = UART_WORDLENGTH_8B;
  huart7.Init.StopBits = UART_STOPBITS_1;
  huart7.Init.Parity = UART_PARITY_NONE;
  huart7.Init.Mode = UART_MODE_TX_RX;
  huart7.Init.HwFlowCtl = UART_HWCONTROL_NONE;
  huart7.Init.OverSampling = UART_OVERSAMPLING_16;
  huart7.Init.OneBitSampling = UART_ONE_BIT_SAMPLE_DISABLE;
  huart7.AdvancedInit.AdvFeatureInit = UART_ADVFEATURE_NO_INIT;
  if (HAL_UART_Init(&huart7) != HAL_OK)
  {
    Error_Handler();
  }

}

static void MX_USART3_UART_Init(void)
{

  huart3.Instance = USART3;
  huart3.Init.BaudRate = 115200;
  huart3.Init.WordLength = UART_WORDLENGTH_8B;
  huart3.Init.StopBits = UART_STOPBITS_1;
  huart3.Init.Parity = UART_PARITY_NONE;
  huart3.Init.Mode = UART_MODE_TX_RX;
  huart3.Init.HwFlowCtl = UART_HWCONTROL_NONE;
  huart3.Init.OverSampling = UART_OVERSAMPLING_16;
  huart3.Init.OneBitSampling = UART_ONE_BIT_SAMPLE_DISABLE;
  huart3.AdvancedInit.AdvFeatureInit = UART_ADVFEATURE_NO_INIT;
  if (HAL_UART_Init(&huart3) != HAL_OK)
  {
    Error_Handler();
  }

}

static void MX_DMA_Init(void)
{
  /* DMA controller clock enable */
  __HAL_RCC_DMA2_CLK_ENABLE();
  __HAL_RCC_DMA1_CLK_ENABLE();

  /* DMA interrupt init */
  /* DMA1_Stream1_IRQn interrupt configuration */
  HAL_NVIC_SetPriority(DMA1_Stream1_IRQn, 0, 0);
  HAL_NVIC_EnableIRQ(DMA1_Stream1_IRQn);
  /* DMA1_Stream3_IRQn interrupt configuration */
  HAL_NVIC_SetPriority(DMA1_Stream3_IRQn, 0, 0);
  HAL_NVIC_EnableIRQ(DMA1_Stream3_IRQn);
  /* DMA1_Stream7_IRQn interrupt configuration */
  HAL_NVIC_SetPriority(DMA1_Stream7_IRQn, 0, 0);
  HAL_NVIC_EnableIRQ(DMA1_Stream7_IRQn);
  /* DMA2_Stream0_IRQn interrupt configuration */
  HAL_NVIC_SetPriority(DMA2_Stream0_IRQn, 0, 0);
  HAL_NVIC_EnableIRQ(DMA2_Stream0_IRQn);
  /* DMA2_Stream3_IRQn interrupt configuration */
  HAL_NVIC_SetPriority(DMA2_Stream3_IRQn, 0, 0);
  HAL_NVIC_EnableIRQ(DMA2_Stream3_IRQn);

}

static void MX_GPIO_Init(void)
{
  GPIO_InitTypeDef GPIO_InitStruct = {0};

  /* GPIO Ports Clock Enable */
  __HAL_RCC_GPIOE_CLK_ENABLE();
  __HAL_RCC_GPIOC_CLK_ENABLE();
  __HAL_RCC_GPIOF_CLK_ENABLE();
  __HAL_RCC_GPIOH_CLK_ENABLE();
  __HAL_RCC_GPIOA_CLK_ENABLE();
  __HAL_RCC_GPIOB_CLK_ENABLE();
  __HAL_RCC_GPIOD_CLK_ENABLE();
  __HAL_RCC_GPIOG_CLK_ENABLE();

  /*Configure GPIO pin Output Level */
  HAL_GPIO_WritePin(GPIOE, DAQ_SYNC_OUT_Pin|CS1_Pin, GPIO_PIN_RESET);

  /*Configure GPIO pin Output Level */
  HAL_GPIO_WritePin(GPIOF, CS4_Pin|CS3_Pin|CS2_Pin, GPIO_PIN_RESET);

  /*Configure GPIO pin Output Level */
  HAL_GPIO_WritePin(GPIOB, LD1_Pin|LD3_Pin|LD2_Pin|BL_EN_Pin, GPIO_PIN_RESET);

  /*Configure GPIO pin Output Level */
  HAL_GPIO_WritePin(GPIOG, TEST_Pin|CAN_SYNC1_Pin|CAN_SYNC2_Pin|USB_PowerSwitchOn_Pin, GPIO_PIN_RESET);

  /*Configure GPIO pin Output Level */
  HAL_GPIO_WritePin(GPIOD, RPi_PW_Pin|RPI_SPW_Pin, GPIO_PIN_RESET);

  /*Configure GPIO pin : DAQ_SYNQ_MODE_Pin */
  GPIO_InitStruct.Pin = DAQ_SYNQ_MODE_Pin;
  GPIO_InitStruct.Mode = GPIO_MODE_INPUT;
  GPIO_InitStruct.Pull = GPIO_PULLUP;
  HAL_GPIO_Init(DAQ_SYNQ_MODE_GPIO_Port, &GPIO_InitStruct);

  /*Configure GPIO pin : DAQ_SYNC_IN_Pin */
  GPIO_InitStruct.Pin = DAQ_SYNC_IN_Pin;
  GPIO_InitStruct.Mode = GPIO_MODE_IT_RISING;
  GPIO_InitStruct.Pull = GPIO_PULLUP;
  HAL_GPIO_Init(DAQ_SYNC_IN_GPIO_Port, &GPIO_InitStruct);

  /*Configure GPIO pins : DAQ_SYNC_OUT_Pin CS1_Pin */
  GPIO_InitStruct.Pin = DAQ_SYNC_OUT_Pin|CS1_Pin;
  GPIO_InitStruct.Mode = GPIO_MODE_OUTPUT_PP;
  GPIO_InitStruct.Pull = GPIO_NOPULL;
  GPIO_InitStruct.Speed = GPIO_SPEED_FREQ_LOW;
  HAL_GPIO_Init(GPIOE, &GPIO_InitStruct);

  /*Configure GPIO pin : USER_Btn_Pin */
  GPIO_InitStruct.Pin = USER_Btn_Pin;
  GPIO_InitStruct.Mode = GPIO_MODE_IT_RISING;
  GPIO_InitStruct.Pull = GPIO_NOPULL;
  HAL_GPIO_Init(USER_Btn_GPIO_Port, &GPIO_InitStruct);

  /*Configure GPIO pins : CS4_Pin CS3_Pin CS2_Pin */
  GPIO_InitStruct.Pin = CS4_Pin|CS3_Pin|CS2_Pin;
  GPIO_InitStruct.Mode = GPIO_MODE_OUTPUT_PP;
  GPIO_InitStruct.Pull = GPIO_NOPULL;
  GPIO_InitStruct.Speed = GPIO_SPEED_FREQ_LOW;
  HAL_GPIO_Init(GPIOF, &GPIO_InitStruct);

  /*Configure GPIO pin : Power_Key_Pin */
  GPIO_InitStruct.Pin = Power_Key_Pin;
  GPIO_InitStruct.Mode = GPIO_MODE_INPUT;
  GPIO_InitStruct.Pull = GPIO_PULLDOWN;
  HAL_GPIO_Init(Power_Key_GPIO_Port, &GPIO_InitStruct);

  /*Configure GPIO pin : SPI1_NSS_Pin */
  GPIO_InitStruct.Pin = SPI1_NSS_Pin;
  GPIO_InitStruct.Mode = GPIO_MODE_IT_RISING_FALLING;
  GPIO_InitStruct.Pull = GPIO_NOPULL;
  HAL_GPIO_Init(SPI1_NSS_GPIO_Port, &GPIO_InitStruct);

  /*Configure GPIO pins : LD1_Pin LD3_Pin LD2_Pin BL_EN_Pin */
  GPIO_InitStruct.Pin = LD1_Pin|LD3_Pin|LD2_Pin|BL_EN_Pin;
  GPIO_InitStruct.Mode = GPIO_MODE_OUTPUT_PP;
  GPIO_InitStruct.Pull = GPIO_NOPULL;
  GPIO_InitStruct.Speed = GPIO_SPEED_FREQ_LOW;
  HAL_GPIO_Init(GPIOB, &GPIO_InitStruct);

  /*Configure GPIO pins : TEST_Pin CAN_SYNC1_Pin CAN_SYNC2_Pin USB_PowerSwitchOn_Pin */
  GPIO_InitStruct.Pin = TEST_Pin|CAN_SYNC1_Pin|CAN_SYNC2_Pin|USB_PowerSwitchOn_Pin;
  GPIO_InitStruct.Mode = GPIO_MODE_OUTPUT_PP;
  GPIO_InitStruct.Pull = GPIO_NOPULL;
  GPIO_InitStruct.Speed = GPIO_SPEED_FREQ_LOW;
  HAL_GPIO_Init(GPIOG, &GPIO_InitStruct);

  /*Configure GPIO pin : USB_OverCurrent_Pin */
  GPIO_InitStruct.Pin = USB_OverCurrent_Pin;
  GPIO_InitStruct.Mode = GPIO_MODE_INPUT;
  GPIO_InitStruct.Pull = GPIO_NOPULL;
  HAL_GPIO_Init(USB_OverCurrent_GPIO_Port, &GPIO_InitStruct);

  /*Configure GPIO pins : CC1_IRQ_Pin CC2_IRQ_Pin CC3_IRQ_Pin CC4_IRQ_Pin */
  GPIO_InitStruct.Pin = CC1_IRQ_Pin|CC2_IRQ_Pin|CC3_IRQ_Pin|CC4_IRQ_Pin;
  GPIO_InitStruct.Mode = GPIO_MODE_IT_RISING;
  GPIO_InitStruct.Pull = GPIO_PULLDOWN;
  HAL_GPIO_Init(GPIOC, &GPIO_InitStruct);

  /*Configure GPIO pins : USB_SOF_Pin USB_ID_Pin USB_DM_Pin USB_DP_Pin */
  GPIO_InitStruct.Pin = USB_SOF_Pin|USB_ID_Pin|USB_DM_Pin|USB_DP_Pin;
  GPIO_InitStruct.Mode = GPIO_MODE_AF_PP;
  GPIO_InitStruct.Pull = GPIO_NOPULL;
  GPIO_InitStruct.Speed = GPIO_SPEED_FREQ_VERY_HIGH;
  GPIO_InitStruct.Alternate = GPIO_AF10_OTG_FS;
  HAL_GPIO_Init(GPIOA, &GPIO_InitStruct);

  /*Configure GPIO pin : USB_VBUS_Pin */
  GPIO_InitStruct.Pin = USB_VBUS_Pin;
  GPIO_InitStruct.Mode = GPIO_MODE_INPUT;
  GPIO_InitStruct.Pull = GPIO_NOPULL;
  HAL_GPIO_Init(USB_VBUS_GPIO_Port, &GPIO_InitStruct);

  /*Configure GPIO pins : RPi_PW_Pin RPI_SPW_Pin */
  GPIO_InitStruct.Pin = RPi_PW_Pin|RPI_SPW_Pin;
  GPIO_InitStruct.Mode = GPIO_MODE_OUTPUT_PP;
  GPIO_InitStruct.Pull = GPIO_NOPULL;
  GPIO_InitStruct.Speed = GPIO_SPEED_FREQ_LOW;
  HAL_GPIO_Init(GPIOD, &GPIO_InitStruct);

  /* EXTI interrupt init*/
  HAL_NVIC_SetPriority(EXTI4_IRQn, 0, 0);
  HAL_NVIC_EnableIRQ(EXTI4_IRQn);

  HAL_NVIC_SetPriority(EXTI9_5_IRQn, 0, 0);
  HAL_NVIC_EnableIRQ(EXTI9_5_IRQn);

  HAL_NVIC_SetPriority(EXTI15_10_IRQn, 0, 0);
  HAL_NVIC_EnableIRQ(EXTI15_10_IRQn);

}

/* USER CODE BEGIN 4 */
void HAL_GPIO_EXTI_Callback(uint16_t GPIO_Pin){
	CC_Interrupt_rutine(GPIO_Pin);

	if(GPIO_Pin==DAQ_SYNC_IN_Pin) //The sync interrupt is asserted, this signal comes from the IMU thus, the IMU timestamp
																//should be recorded
	{
		//SYNC_IN_FLAG=1;
		//IMU_Tick();
		if (Start_Sampling)
			Camera_Tick();
	}
	if(GPIO_Pin==SPI1_NSS_Pin)	//GUI System transaction start
	{
		//spi_stack_CS_Mng(&hspi1);//The SPI Slave subsystem for telemetry to the GUI System is faulty and needs further work
	}
	if(GPIO_Pin==GPIO_PIN_11)	//GUI System transaction start
	{
		//spi_stack_CS_Mng(&hspi1);//The SPI Slave subsystem for telemetry to the GUI System is faulty and needs further work
	}
}

void HAL_CAN_RxFifo0MsgPendingCallback(CAN_HandleTypeDef *hcan)
{
	can_stack_interrupt_rutine(hcan);
}
void HAL_UART_RxCpltCallback(UART_HandleTypeDef *huart){
	__NOP();
}
/* USER CODE END 4 */

void Error_Handler(void)
{
}

/************************ (C) COPYRIGHT STMicroelectronics *****END OF FILE****/
